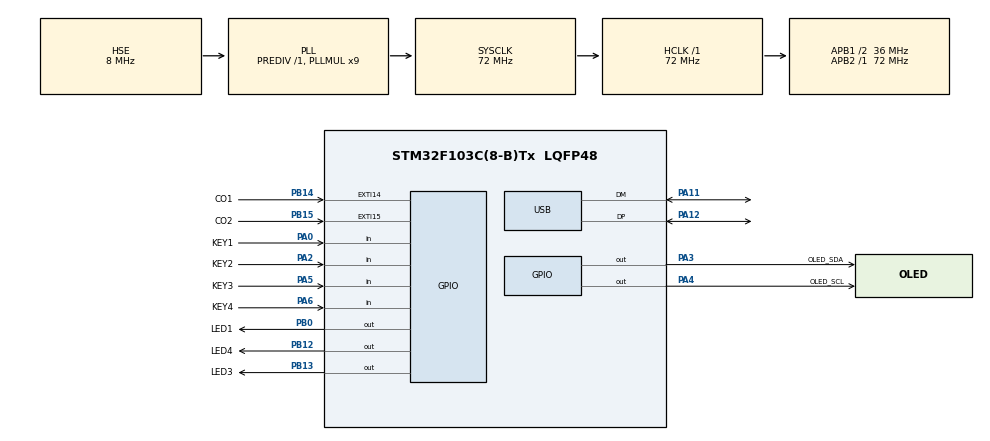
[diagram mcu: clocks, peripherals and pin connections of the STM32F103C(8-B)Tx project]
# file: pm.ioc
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Mcu.Family=STM32F1
Mcu.Name=STM32F103C(8-B)Tx
Mcu.Package=LQFP48
NVIC.EXTI15_10_IRQn=true\:3\:0\:true\:false\:true\:true\:true
NVIC.PriorityGroup=NVIC_PRIORITYGROUP_4
NVIC.TIM2_IRQn=true\:2\:0\:true\:false\:true\:true\:true
NVIC.USB_LP_CAN1_RX0_IRQn=true\:0\:0\:false\:false\:true\:false\:true
PA0-WKUP.GPIO_Label=KEY1
PA0-WKUP.GPIO_PuPd=GPIO_PULLUP
PA0-WKUP.Signal=GPIO_Input
PA11.Mode=Device
PA11.Signal=USB_DM
PA12.Mode=Device
PA12.Signal=USB_DP
PA2.GPIO_Label=KEY2
PA2.GPIO_PuPd=GPIO_PULLUP
PA2.Signal=GPIO_Input
PA3.GPIO_Label=OLED_SDA
PA3.Signal=GPIO_Output
PA4.GPIO_Label=OLED_SCL
PA4.Signal=GPIO_Output
PA5.GPIO_Label=KEY3
PA5.GPIO_PuPd=GPIO_PULLUP
PA5.Signal=GPIO_Input
PA6.GPIO_Label=KEY4
PA6.GPIO_PuPd=GPIO_PULLUP
PA6.Signal=GPIO_Input
PB0.GPIO_Label=LED1
PB0.PinState=GPIO_PIN_SET
PB0.Signal=GPIO_Output
PB12.GPIO_Label=LED4
PB12.PinState=GPIO_PIN_SET
PB12.Signal=GPIO_Output
PB13.GPIO_Label=LED3
PB13.PinState=GPIO_PIN_SET
PB13.Signal=GPIO_Output
PB14.GPIO_Label=CO1
PB14.GPIO_ModeDefaultEXTI=GPIO_MODE_IT_RISING
PB14.GPIO_PuPd=GPIO_PULLDOWN
PB14.Signal=GPXTI14
PB15.GPIO_Label=CO2
PB15.GPIO_ModeDefaultEXTI=GPIO_MODE_IT_RISING
PB15.GPIO_PuPd=GPIO_PULLDOWN
PB15.Signal=GPXTI15
PD0-OSC_IN.Mode=HSE-External-Oscillator
PD0-OSC_IN.Signal=RCC_OSC_IN
PD1-OSC_OUT.Mode=HSE-External-Oscillator
PD1-OSC_OUT.Signal=RCC_OSC_OUT
ProjectManager.HeapSize=0x400
ProjectManager.StackSize=0x800
ProjectManager.TargetToolchain=MDK-ARM V5
RCC.AHBFreq_Value=72000000
RCC.APB1CLKDivider=RCC_HCLK_DIV2
RCC.APB1Freq_Value=36000000
RCC.APB1TimFreq_Value=72000000
RCC.APB2Freq_Value=72000000
RCC.APB2TimFreq_Value=72000000
RCC.DATA_CACHE_ENABLE=1
RCC.HCLKFreq_Value=72000000
RCC.INSTRUCTION_CACHE_ENABLE=1
RCC.MSICalibrationValue=0
RCC.PLLMUL=RCC_PLL_MUL9
RCC.PLLSourceVirtual=RCC_PLLSOURCE_HSE
RCC.PWR_Regulator_Voltage_Scale=PWR_REGULATOR_VOLTAGE_SCALE1
RCC.SYSCLKFreq_VALUE=72000000
RCC.SYSCLKSource=RCC_SYSCLKSOURCE_PLLCLK
RCC.USBFreq_Value=48000000
RCC.USBPrescaler=RCC_USBCLKSOURCE_PLL_DIV1_5
TIM2.AutoReloadPreload=TIM_AUTORELOAD_PRELOAD_ENABLE
TIM2.Prescaler=72
TIM2.TIM_MasterOutputTrigger=TIM_TRGO_RESET
TIM2.TIM_MasterSlaveMode=TIM_MASTERSLAVEMODE_DISABLE
USB_DEVICE.CLASS_NAME_FS=CDC
USB_DEVICE.VirtualMode=Cdc
USB_DEVICE.VirtualModeFS=Cdc_FS
VP_SYS_VS_ND.Mode=No_Debug
VP_TIM2_VS_ClockSourceINT.Mode=Internal
VP_USB_DEVICE_VS_USB_DEVICE_CDC_FS.Mode=CDC_FS
board=custom

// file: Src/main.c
/* USER CODE BEGIN Header */
/**
  ******************************************************************************
  * @file           : main.c
  * @brief          : Main program body
  ******************************************************************************
  * @attention
  *
  * <h2><center>&copy; Copyright (c) 2019 STMicroelectronics.
  * All rights reserved.</center></h2>
  *
  * This software component is licensed by ST under BSD 3-Clause license,
  * the "License"; You may not use this file except in compliance with the
  * License. You may obtain a copy of the License at:
  *                        opensource.org/licenses/BSD-3-Clause
  *
  ******************************************************************************
  */
/* USER CODE END Header */

#include "main.h"
#include "usb_device.h"

/* USER CODE BEGIN Includes */
#include "oled.h"
#include "delay.h"
#include "measure.h"
/* USER CODE END Includes */

void SystemClock_Config(void);
static void MX_GPIO_Init(void);
static void MX_TIM2_Init(void);

int main(void)
{
  /* USER CODE BEGIN 1 */
    u8 a[10];
    u16 i=123;

  /* USER CODE END 1 */

  /* MCU Configuration--------------------------------------------------------*/

  /* Reset of all peripherals, Initializes the Flash interface and the Systick. */
  HAL_Init();

  /* Configure the system clock */
  SystemClock_Config();

  /* Initialize all configured peripherals */
  MX_GPIO_Init();
  MX_USB_DEVICE_Init();
  MX_TIM2_Init();
  /* USER CODE BEGIN 2 */
  delay_init(72);

  OLED_Init();
  delay_ms(800);
  /* USER CODE END 2 */

  /* Infinite loop */
  while (1)
  {

    /* USER CODE BEGIN 3 */
//      LL_GPIO_SetOutputPin(LED3_GPIO_Port,LED3_Pin);
//      delay_ms(250);
//      LL_GPIO_ResetOutputPin(LED3_GPIO_Port,LED3_Pin);
//      delay_ms(250);

      if(LL_GPIO_IsInputPinSet(KEY1_GPIO_Port,KEY1_Pin)==0)
      {
      }
            Oled_Printf_U16(1,1,CNT1,0);
            Oled_Printf_U16(60,1,CNT2,0);
            Oled_Printf_U16(1,5,CNT3,0);
            Oled_Printf_U16(60,5,TIM2->CNT,0);
  }
  /* USER CODE END 3 */
}

void SystemClock_Config(void)
{
  RCC_OscInitTypeDef RCC_OscInitStruct = {0};
  RCC_ClkInitTypeDef RCC_ClkInitStruct = {0};
  RCC_PeriphCLKInitTypeDef PeriphClkInit = {0};

  /** Initializes the CPU, AHB and APB busses clocks
  */
  RCC_OscInitStruct.OscillatorType = RCC_OSCILLATORTYPE_HSE;
  RCC_OscInitStruct.HSEState = RCC_HSE_ON;
  RCC_OscInitStruct.HSEPredivValue = RCC_HSE_PREDIV_DIV1;
  RCC_OscInitStruct.HSIState = RCC_HSI_ON;
  RCC_OscInitStruct.PLL.PLLState = RCC_PLL_ON;
  RCC_OscInitStruct.PLL.PLLSource = RCC_PLLSOURCE_HSE;
  RCC_OscInitStruct.PLL.PLLMUL = RCC_PLL_MUL9;
  if (HAL_RCC_OscConfig(&RCC_OscInitStruct) != HAL_OK)
  {
    Error_Handler();
  }
  /** Initializes the CPU, AHB and APB busses clocks
  */
  RCC_ClkInitStruct.ClockType = RCC_CLOCKTYPE_HCLK|RCC_CLOCKTYPE_SYSCLK
                              |RCC_CLOCKTYPE_PCLK1|RCC_CLOCKTYPE_PCLK2;
  RCC_ClkInitStruct.SYSCLKSource = RCC_SYSCLKSOURCE_PLLCLK;
  RCC_ClkInitStruct.AHBCLKDivider = RCC_SYSCLK_DIV1;
  RCC_ClkInitStruct.APB1CLKDivider = RCC_HCLK_DIV2;
  RCC_ClkInitStruct.APB2CLKDivider = RCC_HCLK_DIV1;

  if (HAL_RCC_ClockConfig(&RCC_ClkInitStruct, FLASH_LATENCY_2) != HAL_OK)
  {
    Error_Handler();
  }
  PeriphClkInit.PeriphClockSelection = RCC_PERIPHCLK_USB;
  PeriphClkInit.UsbClockSelection = RCC_USBCLKSOURCE_PLL_DIV1_5;
  if (HAL_RCCEx_PeriphCLKConfig(&PeriphClkInit) != HAL_OK)
  {
    Error_Handler();
  }
}

static void MX_TIM2_Init(void)
{

  LL_TIM_InitTypeDef TIM_InitStruct = {0};

  /* Peripheral clock enable */
  LL_APB1_GRP1_EnableClock(LL_APB1_GRP1_PERIPH_TIM2);

  /* TIM2 interrupt Init */
  NVIC_SetPriority(TIM2_IRQn, NVIC_EncodePriority(NVIC_GetPriorityGrouping(),2, 0));
  NVIC_EnableIRQ(TIM2_IRQn);

  TIM_InitStruct.Prescaler = 72;
  TIM_InitStruct.CounterMode = LL_TIM_COUNTERMODE_UP;
  TIM_InitStruct.Autoreload = 5000;
  TIM_InitStruct.ClockDivision = LL_TIM_CLOCKDIVISION_DIV1;
  LL_TIM_Init(TIM2, &TIM_InitStruct);
  LL_TIM_EnableARRPreload(TIM2);
  LL_TIM_SetClockSource(TIM2, LL_TIM_CLOCKSOURCE_INTERNAL);
  LL_TIM_SetTriggerOutput(TIM2, LL_TIM_TRGO_RESET);
  LL_TIM_DisableMasterSlaveMode(TIM2);
  /* USER CODE BEGIN TIM2_Init 2 */
    LL_TIM_EnableCounter(TIM2);
    LL_TIM_DisableCounter(TIM2);
  /* USER CODE END TIM2_Init 2 */

}

static void MX_GPIO_Init(void)
{
  LL_EXTI_InitTypeDef EXTI_InitStruct = {0};
  LL_GPIO_InitTypeDef GPIO_InitStruct = {0};

  /* GPIO Ports Clock Enable */
  LL_APB2_GRP1_EnableClock(LL_APB2_GRP1_PERIPH_GPIOD);
  LL_APB2_GRP1_EnableClock(LL_APB2_GRP1_PERIPH_GPIOA);
  LL_APB2_GRP1_EnableClock(LL_APB2_GRP1_PERIPH_GPIOB);

  /**/
  LL_GPIO_ResetOutputPin(GPIOA, OLED_SDA_Pin|OLED_SCL_Pin);

  /**/
  LL_GPIO_SetOutputPin(GPIOB, LED1_Pin|LED4_Pin|LED3_Pin);

  /**/
  GPIO_InitStruct.Pin = KEY1_Pin|KEY2_Pin|KEY3_Pin|KEY4_Pin;
  GPIO_InitStruct.Mode = LL_GPIO_MODE_INPUT;
  GPIO_InitStruct.Pull = LL_GPIO_PULL_UP;
  LL_GPIO_Init(GPIOA, &GPIO_InitStruct);

  /**/
  GPIO_InitStruct.Pin = OLED_SDA_Pin|OLED_SCL_Pin;
  GPIO_InitStruct.Mode = LL_GPIO_MODE_OUTPUT;
  GPIO_InitStruct.Speed = LL_GPIO_SPEED_FREQ_LOW;
  GPIO_InitStruct.OutputType = LL_GPIO_OUTPUT_PUSHPULL;
  LL_GPIO_Init(GPIOA, &GPIO_InitStruct);

  /**/
  GPIO_InitStruct.Pin = LED1_Pin|LED4_Pin|LED3_Pin;
  GPIO_InitStruct.Mode = LL_GPIO_MODE_OUTPUT;
  GPIO_InitStruct.Speed = LL_GPIO_SPEED_FREQ_LOW;
  GPIO_InitStruct.OutputType = LL_GPIO_OUTPUT_PUSHPULL;
  LL_GPIO_Init(GPIOB, &GPIO_InitStruct);

  /**/
  LL_GPIO_AF_SetEXTISource(LL_GPIO_AF_EXTI_PORTB, LL_GPIO_AF_EXTI_LINE14);

  /**/
  LL_GPIO_AF_SetEXTISource(LL_GPIO_AF_EXTI_PORTB, LL_GPIO_AF_EXTI_LINE15);

  /**/
  EXTI_InitStruct.Line_0_31 = LL_EXTI_LINE_14;
  EXTI_InitStruct.LineCommand = ENABLE;
  EXTI_InitStruct.Mode = LL_EXTI_MODE_IT;
  EXTI_InitStruct.Trigger = LL_EXTI_TRIGGER_RISING;
  LL_EXTI_Init(&EXTI_InitStruct);

  /**/
  EXTI_InitStruct.Line_0_31 = LL_EXTI_LINE_15;
  EXTI_InitStruct.LineCommand = ENABLE;
  EXTI_InitStruct.Mode = LL_EXTI_MODE_IT;
  EXTI_InitStruct.Trigger = LL_EXTI_TRIGGER_RISING;
  LL_EXTI_Init(&EXTI_InitStruct);

  /**/
  LL_GPIO_SetPinPull(CO1_GPIO_Port, CO1_Pin, LL_GPIO_PULL_DOWN);

  /**/
  LL_GPIO_SetPinPull(CO2_GPIO_Port, CO2_Pin, LL_GPIO_PULL_DOWN);

  /**/
  LL_GPIO_SetPinMode(CO1_GPIO_Port, CO1_Pin, LL_GPIO_MODE_INPUT);

  /**/
  LL_GPIO_SetPinMode(CO2_GPIO_Port, CO2_Pin, LL_GPIO_MODE_INPUT);

  /* EXTI interrupt init*/
  NVIC_SetPriority(EXTI15_10_IRQn, NVIC_EncodePriority(NVIC_GetPriorityGrouping(),3, 0));
  NVIC_EnableIRQ(EXTI15_10_IRQn);
//  NVIC_DisableIRQ(EXTI15_10_IRQn);

}

void Error_Handler(void)
{
}

/************************ (C) COPYRIGHT STMicroelectronics *****END OF FILE****/
